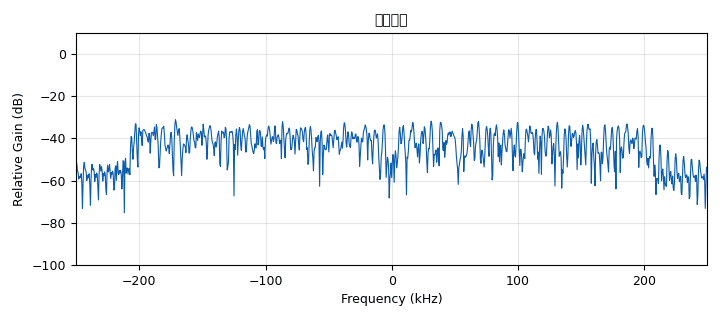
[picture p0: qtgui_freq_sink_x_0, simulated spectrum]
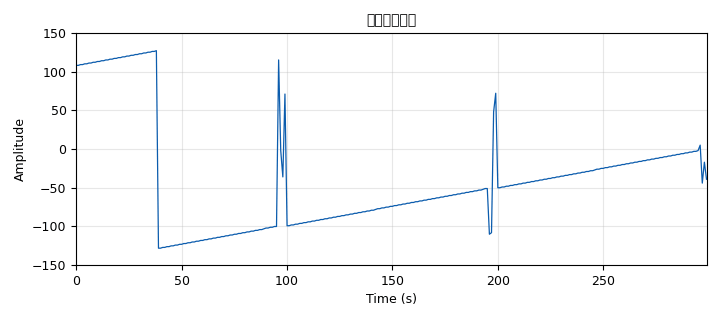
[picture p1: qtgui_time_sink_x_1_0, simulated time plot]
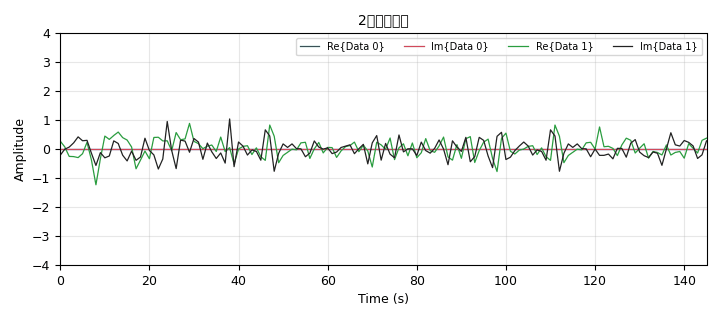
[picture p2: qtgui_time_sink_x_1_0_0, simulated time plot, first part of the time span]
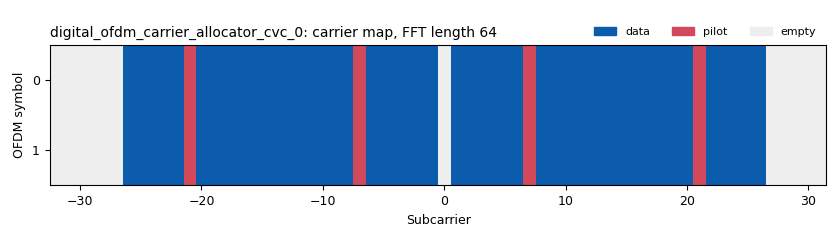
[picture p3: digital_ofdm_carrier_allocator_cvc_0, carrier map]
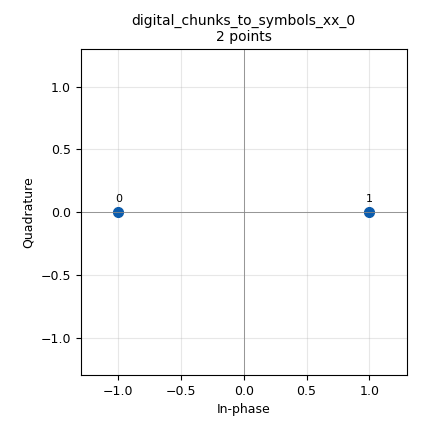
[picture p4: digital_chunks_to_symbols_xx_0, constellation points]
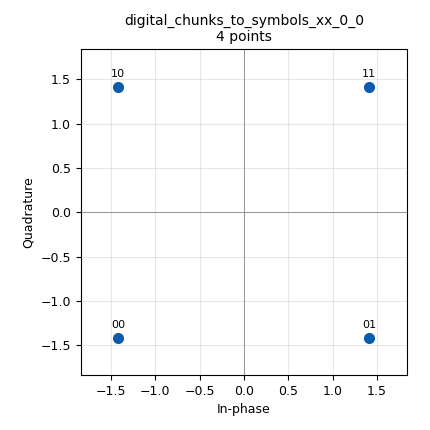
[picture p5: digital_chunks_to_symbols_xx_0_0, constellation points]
options:
  parameters:
    author: btfz
    category: Custom
    copyright: btfz
    description: https://beautifulzzzz.com/gnuradio
    generate_options: qt_gui
    id: trx_ofdm_mimo_time_diversity
    output_language: python
    run_options: run
    title: trx_ofdm_mimo_time_diversity
  states: {}

blocks:
- name: fft_len
  id: variable
  parameters:
    value: '64'
  states: {}
- name: freq
  id: variable
  parameters:
    value: 2.4e9
  states: {}
- name: gui_update_period
  id: variable
  parameters:
    value: '0.5'
  states: {}
- name: header_equalizer
  id: variable
  parameters:
    value: digital.ofdm_equalizer_simpledfe(fft_len, header_mod.base(), occupied_carriers, pilot_carriers, pilot_symbols)
  states: {}
- name: header_formatter
  id: variable
  parameters:
    value: digital.packet_header_ofdm(occupied_carriers, n_syms=1, len_tag_key=packet_length_tag_key, frame_len_tag_key=length_tag_key, bits_per_header_sym=header_mod.bits_per_symbol(), bits_per_payload_sym=payload_mod.bits_per_symbol(), scramble_header=False)
  states: {}
- name: header_mod
  id: variable
  parameters:
    value: digital.constellation_bpsk()
  states: {}
- name: length_tag_key
  id: variable
  parameters:
    value: '"frame_len"'
  states: {}
- name: occupied_carriers
  id: variable
  parameters:
    value: (list(range(-26, -21)) + list(range(-20, -7)) + list(range(-6, 0)) + list(range(1, 7)) + list(range(8, 21)) + list(range(22, 27)),)
  states: {}
- name: packet_len
  id: variable
  parameters:
    value: '96'
  states: {}
- name: packet_length_tag_key
  id: variable
  parameters:
    value: '"packet_len"'
  states: {}
- name: payload_equalizer
  id: variable
  parameters:
    value: digital.ofdm_equalizer_simpledfe(fft_len, payload_mod.base(), occupied_carriers, pilot_carriers, pilot_symbols, 1)
  states: {}
- name: payload_mod
  id: variable
  parameters:
    value: digital.constellation_qpsk()
  states: {}
- name: pilot_carriers
  id: variable
  parameters:
    value: ((-21, -7, 7, 21,),)
  states: {}
- name: pilot_symbols
  id: variable
  parameters:
    value: ((1, 1, 1, -1,),)
  states: {}
- name: rolloff
  id: variable
  parameters:
    value: '0'
  states: {}
- name: rx_mode_chooser
  id: variable_qtgui_chooser
  parameters:
    label: 接收模式选择
    label0: RX1 数据流
    label1: RX2 数据流
    label2: NULL 数据流
    num_opts: '3'
    option0: '0'
    option1: '1'
    option2: '2'
    type: int
    value: '2'
  states: {}
- name: samp_rate
  id: variable
  parameters:
    value: '500000'
  states: {}
- name: sync_word1
  id: variable
  parameters:
    value: '[0., 0., 0., 0., 0., 0., 0., 1.41421356, 0., -1.41421356, 0., 1.41421356, 0., -1.41421356, 0., -1.41421356, 0., -1.41421356, 0., 1.41421356, 0., -1.41421356, 0., 1.41421356, 0., -1.41421356, 0., -1.41421356, 0., -1.41421356, 0., -1.41421356, 0., 1.41421356, 0., -1.41421356, 0., 1.41421356, 0., 1.41421356, 0., 1.41421356, 0., -1.41421356, 0., 1.41421356, 0., 1.41421356, 0., 1.41421356, 0., -1.41421356, 0., 1.41421356, 0., 1.41421356, 0., 1.41421356, 0., 0., 0., 0., 0., 0.]'
  states: {}
- name: sync_word2
  id: variable
  parameters:
    value: '[0, 0, 0, 0, 0, 0, -1, -1, -1, -1, 1, 1, -1, -1, -1, 1, -1, 1, 1, 1, 1, 1, -1, -1, -1, -1, -1, 1, -1, -1, 1, -1, 0, 1, -1, 1, 1, 1, -1, 1, 1, 1, -1, 1, 1, 1, 1, -1, 1, -1, -1, -1, 1, -1, 1, -1, -1, -1, -1, 0, 0, 0, 0, 0] '
  states: {}
- name: uhd_gain
  id: variable_qtgui_range
  parameters:
    comment: uhd gain：(0~70)
    label: GAIN
    rangeType: int
    start: '0'
    step: '1'
    stop: '70'
    value: '30'
  states: {}
- name: analog_frequency_modulator_fc_0
  id: analog_frequency_modulator_fc
  parameters:
    sensitivity: '-2.0/fft_len'
  states: {}
- name: analog_sig_source_x_0
  id: analog_sig_source_x
  parameters:
    amp: '255'
    freq: '1000'
    offset: '0'
    phase: '0'
    samp_rate: '1000000'
    type: byte
    waveform: analog.GR_TRI_WAVE
  states: {}
- name: blocks_char_to_float_0
  id: blocks_char_to_float
  parameters:
    scale: '1'
  states: {}
- name: blocks_char_to_float_1
  id: blocks_char_to_float
  parameters:
    scale: '1'
  states: {}
- name: blocks_delay_0
  id: blocks_delay
  parameters:
    delay: fft_len+fft_len//4
    type: complex
  states: {}
- name: blocks_message_debug_0
  id: blocks_message_debug
  parameters:
    en_uvec: 'False'
  states: {}
- name: blocks_multiply_const_vxx_0
  id: blocks_multiply_const_vxx
  parameters:
    comment: '*0.05'
    const: '0.05'
    type: complex
  states: {}
- name: blocks_multiply_xx_0
  id: blocks_multiply_xx
  parameters:
    type: complex
  states: {}
- name: blocks_null_source_0
  id: blocks_null_source
  parameters:
    type: complex
  states: {}
- name: blocks_repack_bits_bb_0
  id: blocks_repack_bits_bb
  parameters:
    comment: |-
      100->400
      每个输入的1字节包含8bits 信息，每个输出的1字节包含2bits的信息
    endianness: gr.GR_LSB_FIRST
    k: '8'
    l: payload_mod.bits_per_symbol()
    len_tag_key: length_tag_key
  states: {}
- name: blocks_repack_bits_bb_0_0
  id: blocks_repack_bits_bb
  parameters:
    align_output: 'True'
    endianness: gr.GR_LSB_FIRST
    k: payload_mod.bits_per_symbol()
    l: '8'
    len_tag_key: packet_length_tag_key
  states: {}
- name: blocks_selector_0_0
  id: blocks_selector
  parameters:
    enabled: 'True'
    input_index: rx_mode_chooser
    num_inputs: '3'
    num_outputs: '1'
    output_index: '0'
    type: complex
  states: {}
- name: blocks_stream_to_tagged_stream_0
  id: blocks_stream_to_tagged_stream
  parameters:
    len_tag_key: length_tag_key
    packet_len: packet_len
    type: byte
  states: {}
- name: blocks_tag_debug_1
  id: blocks_tag_debug
  parameters:
    name: Rx Bytes
    type: byte
  states: {}
- name: blocks_tag_gate_0
  id: blocks_tag_gate
  parameters:
    comment: 使用此块可以阻止标签传播
    propagate_tags: 'False'
    type: complex
  states: {}
- name: blocks_tagged_stream_mux_0
  id: blocks_tagged_stream_mux
  parameters:
    comment: packet_len=448
    lengthtagname: length_tag_key
    ninputs: '2'
    type: complex
  states: {}
- name: digital_chunks_to_symbols_xx_0
  id: digital_chunks_to_symbols_xx
  parameters:
    dimension: '1'
    in_type: byte
    out_type: complex
    symbol_table: header_mod.points()
  states: {}
- name: digital_chunks_to_symbols_xx_0_0
  id: digital_chunks_to_symbols_xx
  parameters:
    dimension: '1'
    in_type: byte
    out_type: complex
    symbol_table: payload_mod.points()
  states: {}
- name: digital_constellation_decoder_cb_0
  id: digital_constellation_decoder_cb
  parameters:
    constellation: header_mod.base()
  states: {}
- name: digital_constellation_decoder_cb_1
  id: digital_constellation_decoder_cb
  parameters:
    constellation: payload_mod.base()
  states: {}
- name: digital_crc32_bb_0
  id: digital_crc32_bb
  parameters:
    check: 'False'
    comment: 96+4(CRC32) = 100
    lengthtagname: length_tag_key
    packed: 'True'
  states: {}
- name: digital_crc32_bb_0_0
  id: digital_crc32_bb
  parameters:
    check: 'True'
    lengthtagname: packet_length_tag_key
    packed: 'True'
  states: {}
- name: digital_header_payload_demux_0_0
  id: digital_header_payload_demux
  parameters:
    guard_interval: fft_len//4
    header_len: '3'
    header_padding: '0'
    items_per_symbol: fft_len
    length_tag_key: length_tag_key
    output_symbols: 'True'
    samp_rate: samp_rate
    special_tags: ()
    timing_tag_key: '"rx_time"'
    type: complex
  states: {}
- name: digital_ofdm_carrier_allocator_cvc_0
  id: digital_ofdm_carrier_allocator_cvc
  parameters:
    fft_len: fft_len
    len_tag_key: length_tag_key
    occupied_carriers: occupied_carriers
    output_is_shifted: 'True'
    pilot_carriers: pilot_carriers
    pilot_symbols: pilot_symbols
    sync_words: (sync_word1, sync_word2)
  states: {}
- name: digital_ofdm_chanest_vcvc_0
  id: digital_ofdm_chanest_vcvc
  parameters:
    force_one_symbol: 'False'
    max_carr_offset: '3'
    n_data_symbols: '1'
    sync_symbol1: sync_word1
    sync_symbol2: sync_word2
  states: {}
- name: digital_ofdm_cyclic_prefixer_0
  id: digital_ofdm_cyclic_prefixer
  parameters:
    cp_len: fft_len//4
    input_size: fft_len
    rolloff: rolloff
    tagname: length_tag_key
  states: {}
- name: digital_ofdm_frame_equalizer_vcvc_0
  id: digital_ofdm_frame_equalizer_vcvc
  parameters:
    cp_len: fft_len//4
    equalizer: header_equalizer.base()
    fft_len: fft_len
    fixed_frame_len: '1'
    len_tag_key: length_tag_key
    propagate_channel_state: 'True'
  states: {}
- name: digital_ofdm_frame_equalizer_vcvc_1
  id: digital_ofdm_frame_equalizer_vcvc
  parameters:
    cp_len: fft_len//4
    equalizer: payload_equalizer.base()
    fft_len: fft_len
    len_tag_key: length_tag_key
    propagate_channel_state: 'True'
  states: {}
- name: digital_ofdm_serializer_vcc_header
  id: digital_ofdm_serializer_vcc
  parameters:
    carr_offset_key: ''
    fft_len: fft_len
    len_tag_key: length_tag_key
    occupied_carriers: occupied_carriers
    packet_len_tag_key: ''
  states: {}
- name: digital_ofdm_serializer_vcc_payload
  id: digital_ofdm_serializer_vcc
  parameters:
    carr_offset_key: ''
    fft_len: fft_len
    len_tag_key: length_tag_key
    occupied_carriers: occupied_carriers
    packet_len_tag_key: packet_length_tag_key
    symbols_skipped: '1'
  states: {}
- name: digital_ofdm_sync_sc_cfb_0
  id: digital_ofdm_sync_sc_cfb
  parameters:
    cp_len: fft_len//4
    fft_len: fft_len
    threshold: '0.9'
  states: {}
- name: digital_packet_headergenerator_bb_0
  id: digital_packet_headergenerator_bb
  parameters:
    header_formatter: header_formatter.base()
    len_tag_key: length_tag_key
  states: {}
- name: digital_packet_headerparser_b_0
  id: digital_packet_headerparser_b
  parameters:
    header_formatter: header_formatter.base()
  states: {}
- name: epy_block_0
  id: epy_block
  parameters:
    _source_code: |
      """
      Embedded Python Blocks:

      Each time this file is saved, GRC will instantiate the first class it finds
      to get ports and parameters of your block. The arguments to __init__  will
      be the parameters. All of them are required to have default values!
      """

      import numpy as np
      from gnuradio import gr
      from gnuradio import digital


      class blk(gr.sync_block):  # other base classes are basic_block, decim_block, interp_block
          """Embedded Python Block example - a simple multiply const"""
          
          def __init__(self, 
                       vectorSize = 64, 
                       header_mod = digital.constellation_bpsk(), 
                       payload_mod = digital.constellation_qpsk(),
                       debug = False
                       ): # only default arguments here
              """arguments to this function show up as parameters in GRC"""
              gr.sync_block.__init__(
                  self,
                  name='Debug OFDM Block',   # will show up in GRC
                  in_sig=[(np.complex64,vectorSize)],
                  out_sig=[(np.complex64,vectorSize)]
              )
              # if an attribute with the same name as a parameter is found,
              # a callback is registered (properties work, too).
              self.bpsk_points = header_mod.points()   # digital.constellation_bpsk().points()
              self.qpsk_points = payload_mod.points()  # digital.constellation_qpsk().points()
              self.debug = debug

          def work(self, input_items, output_items):
              output_items[0][:] = input_items[0] #port 0

              if self.debug == True:
                  BLACK = '\033[30m'
                  RED = '\033[31m'
                  GREEN = '\033[32m'
                  YELLOW = '\033[33m'
                  BLUE = '\033[34m'
                  MAGENTA = '\033[35m'
                  CYAN = '\033[36m'
                  WHITE = '\033[37m'
                  BG_BLACK = '\033[40m'
                  BG_RED = '\033[41m'
                  BG_GREEN = '\033[42m'
                  BG_YELLOW = '\033[43m'
                  BG_BLUE = '\033[44m'
                  BG_MAGENTA = '\033[45m'
                  BG_CYAN = '\033[46m'
                  BG_WHITE = '\033[47m'
                  RESET = '\033[0m'

                  """example: multiply with constant"""
                  print('\n-> every channel\'s datas:(%dx%d)' %(len(input_items[0][0]),len(input_items[0])))

                  for offset in range(len(input_items[0][0])):
                      if offset in [11,25,39,53]:
                          color = BG_BLACK+YELLOW
                          reset = RESET
                      elif offset in [0,1,2,3,4,5,59,60,61,62,63,32]:
                          color = BG_WHITE+RED
                          reset = RESET
                      else:
                          color = BG_GREEN+BLACK
                          reset = RESET
                 
                      print(color+"[%02d]->"  %(offset), end = ' ')
                      for vectorIndex in range(len(input_items[0])):
                          value = input_items[0][vectorIndex][offset]
                          if value in self.qpsk_points:
                              print('q%d' %(self.qpsk_points.index(value)), end = ' ')
                          elif value in self.bpsk_points:
                              print('b%d' %(self.bpsk_points.index(value)), end = ' ')
                          else:
                              if value.real < -1.4:
                                  print('x-', end = ' ')
                              elif value.real > 1.4:
                                  print('x+', end = ' ')
                              else:
                                  print('x0', end = ' ')
                      print(reset)
                  #print(len(input_items[0]),len(input_items[0][0]))

              return len(output_items[0])
    comment: debug for analy ofdm header
    debug: 'False'
    header_mod: header_mod
    payload_mod: payload_mod
    vectorSize: fft_len
  states: {}
- name: epy_block_1
  id: epy_block
  parameters:
    _source_code: |
      """
      Embedded Python Blocks:

      Each time this file is saved, GRC will instantiate the first class it finds
      to get ports and parameters of your block. The arguments to __init__  will
      be the parameters. All of them are required to have default values!
      """

      import numpy as np
      import pmt
      from gnuradio import gr


      class blk(gr.sync_block):  # other base classes are basic_block, decim_block, interp_block
          """Embedded Python Block example - a simple multiply const"""

          def __init__(self, length_tag_name='', debug=False):  # only default arguments here
              """arguments to this function show up as parameters in GRC"""
              gr.sync_block.__init__(
                      self,
                      name='Debug Header Block',   # will show up in GRC
                      in_sig=[np.byte],
                      out_sig=[]
                      )
              # if an attribute with the same name as a parameter is found,
              # a callback is registered (properties work, too).
              self.length_tag_name = length_tag_name
              self.debug = debug
              

          def work(self, input_items, output_items):
              if self.debug == True:
                  """example: multiply with constant"""
                  # get all tags associated with input_items[0]
                  input_total_len = len(input_items[0])
                  input_offset = self.nitems_read(0)
                  tag_tuple = self.get_tags_in_window(0, 0, len(input_items[0]))
                  tag_num = len(tag_tuple)
                  one_tag_data_num = int(input_total_len/tag_num)

                  # loop through all 'detect' tags and store their relative offset
                  print("\none input, input_offset = %08d --> " %(input_offset))
                  for tag in tag_tuple:
                      if (pmt.to_python(tag.key) == self.length_tag_name):
                          tag_offset = tag.offset
                          tag_relative_offset = tag_offset - input_offset

                          '''
                          0-11 bits(12bits）： 数据包长度
                          12-23 bits(12bits)：标头编号（每次调用进行累加）
                          crc8 (8bits)
                          others (设置为0）
                          '''
                          print("data_lsb[%06d/%06d]=[" 
                                %(tag_relative_offset , input_total_len), end = '')
                          for index in range(one_tag_data_num):
                              print("%02X" %(input_items[0][tag_relative_offset+index]), end = ' ')
                              if index == 11: 
                                  print("len|", end = ' ')
                              elif index == 23:
                                  print("idx|", end = ' ')
                              elif index == 31:
                                  print("crc|", end = ' ')

                          print('|other]')

              return len(input_items[0])
    comment: debug for analy ofdm header
    debug: 'False'
    length_tag_name: length_tag_key
  states: {}
- name: epy_block_2
  id: epy_block
  parameters:
    _source_code: |
      import numpy as np
      from gnuradio import gr
      import time

      class time_diversity_switch(gr.sync_block):
          """
          时间分集开关：
          - 输入：1 路复数 IQ 流
          - 输出：2 路复数 IQ 流
          - 参数 period_sec：切换周期（秒），默认 1 秒
          - 行为：每 period_sec 秒切换一次输出通道，另一路输出 0
          """

          def __init__(self, period_sec=1.0):
              gr.sync_block.__init__(
                  self,
                  name='Time Diversity Switch',
                  in_sig=[np.complex64],
                  out_sig=[np.complex64, np.complex64]
              )
              self.period_sec = float(period_sec)
              if self.period_sec <= 0:
                  raise ValueError("Period must be positive.")
              self.last_switch_time = None
              self.current_output = 0  # 0 -> output 0 active; 1 -> output 1 active

          def work(self, input_items, output_items):
              in0 = input_items[0]
              out0 = output_items[0]
              out1 = output_items[1]
              noutput_items = len(out0)

              # 获取当前时间（秒）
              now = time.time()
              current_slot = int(now // self.period_sec) % 2  # 0 or 1

              # 切换逻辑（可选：只在跨周期时更新，但这里直接用当前 slot 更简单）
              if current_slot == 0:
                  # 输出到端口0，端口1为0
                  out0[:] = in0[:noutput_items]
                  out1[:] = 0
              else:
                  # 输出到端口1，端口0为0
                  out0[:] = 0
                  out1[:] = in0[:noutput_items]

              return noutput_items
    period_sec: '0.05'
  states: {}
- name: fft_vxx_0
  id: fft_vxx
  parameters:
    fft_size: fft_len
    forward: 'False'
    shift: 'True'
    type: complex
    window: ()
  states: {}
- name: fft_vxx_0_0
  id: fft_vxx
  parameters:
    fft_size: fft_len
    forward: 'True'
    shift: 'True'
    type: complex
    window: ()
  states: {}
- name: fft_vxx_1
  id: fft_vxx
  parameters:
    fft_size: fft_len
    forward: 'True'
    shift: 'True'
    type: complex
    window: ()
  states: {}
- name: note_0
  id: note
  parameters:
    comment: |-
      --------------------------------------------------------------
      发送：
      - TX1\TX2 按照时间间隔 Period_Sec 进行轮流发送原始数据
           - T1 周期：TX1 发送实际数据，TX2 静默
           - T2 周期：TX2 发送实际数据，TX1 静默

      --------------------------------------------------------------
      接收支持 3 种模式：
      - RX0 的数据作为后续处理数据
      - RX1 的数据作为后续处理数据
      - NULL 数据用来后续处理

      --------------------------------------------------------------
      存在概率启动 B210 时其 RX1 废掉，通过
      观察 "接收1频谱" 容易发现。
  states: {}
- name: qtgui_const_sink_x_0
  id: qtgui_const_sink_x
  parameters:
    gui_hint: (1,2,1,1)
    name: '"HEADER 星座"'
    size: '1024'
    type: complex
    update_time: gui_update_period
  states: {}
- name: qtgui_const_sink_x_0_0
  id: qtgui_const_sink_x
  parameters:
    gui_hint: (1,3,1,1)
    name: '"PAYLOAD 星座"'
    size: '1024'
    type: complex
    update_time: gui_update_period
  states: {}
- name: qtgui_freq_sink_x_0
  id: qtgui_freq_sink_x
  parameters:
    bw: samp_rate
    fc: '0'
    fftsize: '1024'
    gui_hint: (0,1,1,1)
    name: 发送频谱
    type: complex
    update_time: gui_update_period
    ymin: '-100'
  states: {}
- name: qtgui_freq_sink_x_1
  id: qtgui_freq_sink_x
  parameters:
    bw: samp_rate
    fc: '0'
    fftsize: '1024'
    gui_hint: (0,2,1,1)
    name: '"接收1频谱"'
    type: complex
    update_time: gui_update_period
  states: {}
- name: qtgui_freq_sink_x_1_0
  id: qtgui_freq_sink_x
  parameters:
    bw: samp_rate
    fc: '0'
    fftsize: '1024'
    gui_hint: (0,3,1,1)
    name: '"接收2频谱"'
    type: complex
    update_time: gui_update_period
  states: {}
- name: qtgui_time_sink_x_1_0
  id: qtgui_time_sink_x
  parameters:
    gui_hint: (0,0,1,1)
    name: 原始发送数据
    size: 100*3
    srate: '1'
    type: float
    update_time: gui_update_period
    ymax: '150'
    ymin: '-150'
  states: {}
- name: qtgui_time_sink_x_1_0_0
  id: qtgui_time_sink_x
  parameters:
    gui_hint: (1,1,1,1)
    name: 2路发送数据
    nconnections: '2'
    size: int(samp_rate/20*3)
    srate: '1'
    type: complex
    update_time: gui_update_period
    ymax: '4'
    ymin: '-4'
  states: {}
- name: qtgui_time_sink_x_2
  id: qtgui_time_sink_x
  parameters:
    gui_hint: (1,0,1,1)
    name: 最终接收数据
    size: packet_len*3
    srate: samp_rate
    type: float
    update_time: gui_update_period
    ymax: '150'
    ymin: '-150'
  states: {}
- name: uhd_usrp_sink_0
  id: uhd_usrp_sink
  parameters:
    ant0: '"TX/RX"'
    ant1: '"TX/RX"'
    center_freq0: int(freq)
    center_freq1: int(freq)
    gain0: uhd_gain
    gain1: uhd_gain
    nchan: '2'
    samp_rate: samp_rate
    sync: none
    type: fc32
  states: {}
- name: uhd_usrp_source_0_0
  id: uhd_usrp_source
  parameters:
    ant0: '"RX2"'
    ant1: '"RX2"'
    center_freq0: int(freq)
    center_freq1: int(freq)
    gain0: uhd_gain
    gain1: uhd_gain
    nchan: '2'
    samp_rate: samp_rate
    sync: none
    type: fc32
  states: {}
- name: virtual_sink_0
  id: virtual_sink
  parameters:
    stream_id: Time Domain
  states: {}
- name: virtual_sink_0_0_0
  id: virtual_sink
  parameters:
    stream_id: Pre-OFDM
  states: {}
- name: virtual_sink_1_0
  id: virtual_sink
  parameters:
    stream_id: Payload IQ
  states: {}
- name: virtual_sink_2
  id: virtual_sink
  parameters:
    stream_id: Header Stream
  states: {}
- name: virtual_sink_2_0
  id: virtual_sink
  parameters:
    stream_id: Payload Stream
  states: {}
- name: virtual_source_0
  id: virtual_source
  parameters:
    stream_id: Header Stream
  states: {}
- name: virtual_source_0_0
  id: virtual_source
  parameters:
    stream_id: Payload IQ
  states: {}
- name: virtual_source_0_0_0
  id: virtual_source
  parameters:
    stream_id: Pre-OFDM
  states: {}
- name: virtual_source_0_0_0_0
  id: virtual_source
  parameters:
    stream_id: Time Domain
  states: {}
- name: virtual_source_1_0
  id: virtual_source
  parameters:
    stream_id: Payload Stream
  states: {}

connections:
- [analog_frequency_modulator_fc_0, '0', blocks_multiply_xx_0, '0']
- [analog_sig_source_x_0, '0', blocks_stream_to_tagged_stream_0, '0']
- [blocks_char_to_float_0, '0', qtgui_time_sink_x_2, '0']
- [blocks_char_to_float_1, '0', qtgui_time_sink_x_1_0, '0']
- [blocks_delay_0, '0', blocks_multiply_xx_0, '1']
- [blocks_multiply_const_vxx_0, '0', blocks_tag_gate_0, '0']
- [blocks_multiply_xx_0, '0', digital_header_payload_demux_0_0, '0']
- [blocks_null_source_0, '0', blocks_selector_0_0, '2']
- [blocks_repack_bits_bb_0, '0', digital_chunks_to_symbols_xx_0_0, '0']
- [blocks_repack_bits_bb_0_0, '0', blocks_char_to_float_0, '0']
- [blocks_repack_bits_bb_0_0, '0', digital_crc32_bb_0_0, '0']
- [blocks_selector_0_0, '0', blocks_delay_0, '0']
- [blocks_selector_0_0, '0', digital_ofdm_sync_sc_cfb_0, '0']
- [blocks_stream_to_tagged_stream_0, '0', digital_crc32_bb_0, '0']
- [blocks_tag_gate_0, '0', epy_block_2, '0']
- [blocks_tag_gate_0, '0', qtgui_freq_sink_x_0, '0']
- [blocks_tagged_stream_mux_0, '0', virtual_sink_0_0_0, '0']
- [digital_chunks_to_symbols_xx_0, '0', blocks_tagged_stream_mux_0, '0']
- [digital_chunks_to_symbols_xx_0_0, '0', blocks_tagged_stream_mux_0, '1']
- [digital_constellation_decoder_cb_0, '0', digital_packet_headerparser_b_0, '0']
- [digital_constellation_decoder_cb_1, '0', blocks_repack_bits_bb_0_0, '0']
- [digital_crc32_bb_0, '0', blocks_char_to_float_1, '0']
- [digital_crc32_bb_0, '0', blocks_repack_bits_bb_0, '0']
- [digital_crc32_bb_0, '0', digital_packet_headergenerator_bb_0, '0']
- [digital_crc32_bb_0_0, '0', blocks_tag_debug_1, '0']
- [digital_header_payload_demux_0_0, '0', virtual_sink_2, '0']
- [digital_header_payload_demux_0_0, '1', virtual_sink_2_0, '0']
- [digital_ofdm_carrier_allocator_cvc_0, '0', epy_block_0, '0']
- [digital_ofdm_chanest_vcvc_0, '0', digital_ofdm_frame_equalizer_vcvc_0, '0']
- [digital_ofdm_cyclic_prefixer_0, '0', virtual_sink_0, '0']
- [digital_ofdm_frame_equalizer_vcvc_0, '0', digital_ofdm_serializer_vcc_header, '0']
- [digital_ofdm_frame_equalizer_vcvc_1, '0', digital_ofdm_serializer_vcc_payload, '0']
- [digital_ofdm_serializer_vcc_header, '0', digital_constellation_decoder_cb_0, '0']
- [digital_ofdm_serializer_vcc_header, '0', qtgui_const_sink_x_0, '0']
- [digital_ofdm_serializer_vcc_payload, '0', qtgui_const_sink_x_0_0, '0']
- [digital_ofdm_serializer_vcc_payload, '0', virtual_sink_1_0, '0']
- [digital_ofdm_sync_sc_cfb_0, '0', analog_frequency_modulator_fc_0, '0']
- [digital_ofdm_sync_sc_cfb_0, '1', digital_header_payload_demux_0_0, '1']
- [digital_packet_headergenerator_bb_0, '0', digital_chunks_to_symbols_xx_0, '0']
- [digital_packet_headergenerator_bb_0, '0', epy_block_1, '0']
- [digital_packet_headerparser_b_0, header_data, blocks_message_debug_0, print]
- [digital_packet_headerparser_b_0, header_data, digital_header_payload_demux_0_0, header_data]
- [epy_block_0, '0', fft_vxx_0, '0']
- [epy_block_2, '0', qtgui_time_sink_x_1_0_0, '0']
- [epy_block_2, '0', uhd_usrp_sink_0, '0']
- [epy_block_2, '1', qtgui_time_sink_x_1_0_0, '1']
- [epy_block_2, '1', uhd_usrp_sink_0, '1']
- [fft_vxx_0, '0', digital_ofdm_cyclic_prefixer_0, '0']
- [fft_vxx_0_0, '0', digital_ofdm_chanest_vcvc_0, '0']
- [fft_vxx_1, '0', digital_ofdm_frame_equalizer_vcvc_1, '0']
- [uhd_usrp_source_0_0, '0', blocks_selector_0_0, '0']
- [uhd_usrp_source_0_0, '0', qtgui_freq_sink_x_1, '0']
- [uhd_usrp_source_0_0, '1', blocks_selector_0_0, '1']
- [uhd_usrp_source_0_0, '1', qtgui_freq_sink_x_1_0, '0']
- [virtual_source_0, '0', fft_vxx_0_0, '0']
- [virtual_source_0_0, '0', digital_constellation_decoder_cb_1, '0']
- [virtual_source_0_0_0, '0', digital_ofdm_carrier_allocator_cvc_0, '0']
- [virtual_source_0_0_0_0, '0', blocks_multiply_const_vxx_0, '0']
- [virtual_source_1_0, '0', fft_vxx_1, '0']

metadata:
  file_format: 1
  grc_version: 3.10.12.0
